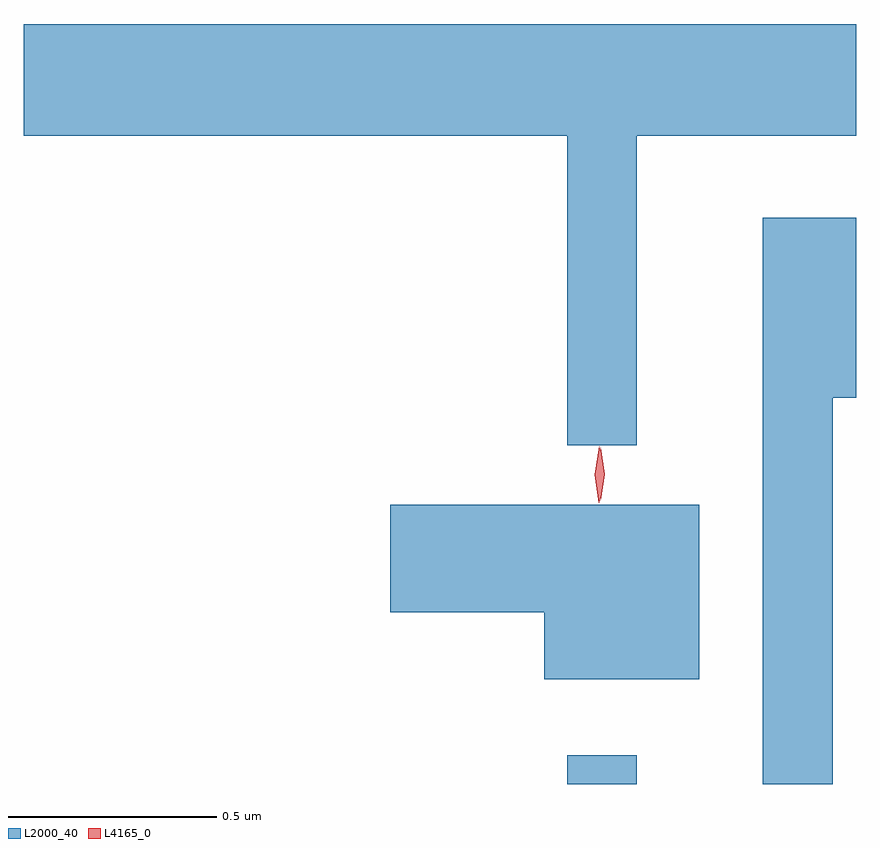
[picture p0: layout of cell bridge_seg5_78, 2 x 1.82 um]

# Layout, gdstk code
import gdstk
lib = gdstk.Library(unit=1e-6, precision=1e-09)
def R(c, l, rs):  # rectangles x0, y0, x1, y1
    for r in rs: c.add(gdstk.rectangle(r[:2], r[2:], *l))
def P(c, l, *ps):  # polygons
    for p in ps: c.add(gdstk.Polygon(p, *l))
L2000_40 = (2000, 40)
L4165_0 = (4165, 0)

bridge_seg5_78 = lib.new_cell('bridge_seg5_78')
R(bridge_seg5_78, L2000_40, [(1304.631,1526.279,1304.799,1526.348)])
P(bridge_seg5_78, L2000_40, [(1304.799,1527.836),(1305.326,1527.836),(1305.326,1528.104),(1303.326,1528.104),(1303.326,1527.836),(1304.631,1527.836),(1304.631,1527.093),(1304.799,1527.093)],
  [(1305.269,1527.206),(1305.326,1527.206),(1305.326,1527.639),(1305.101,1527.639),(1305.101,1526.279),(1305.269,1526.279)],
  [(1304.949,1526.949),(1304.206,1526.949),(1304.206,1526.691),(1304.576,1526.691),(1304.576,1526.531),(1304.949,1526.531)])
P(bridge_seg5_78, L4165_0, [(1304.707,1526.954),(1304.707,1526.954),(1304.698,1527.022),(1304.708,1527.09),(1304.709,1527.09),(1304.709,1527.09),(1304.718,1527.022),(1304.708,1526.954)],
  [(1304.712,1526.96),(1304.712,1526.96),(1304.702,1527.023),(1304.712,1527.086),(1304.712,1527.087),(1304.712,1527.086),(1304.722,1527.023),(1304.712,1526.96)])

lib.write_gds('bridge_seg5_78.gds')
